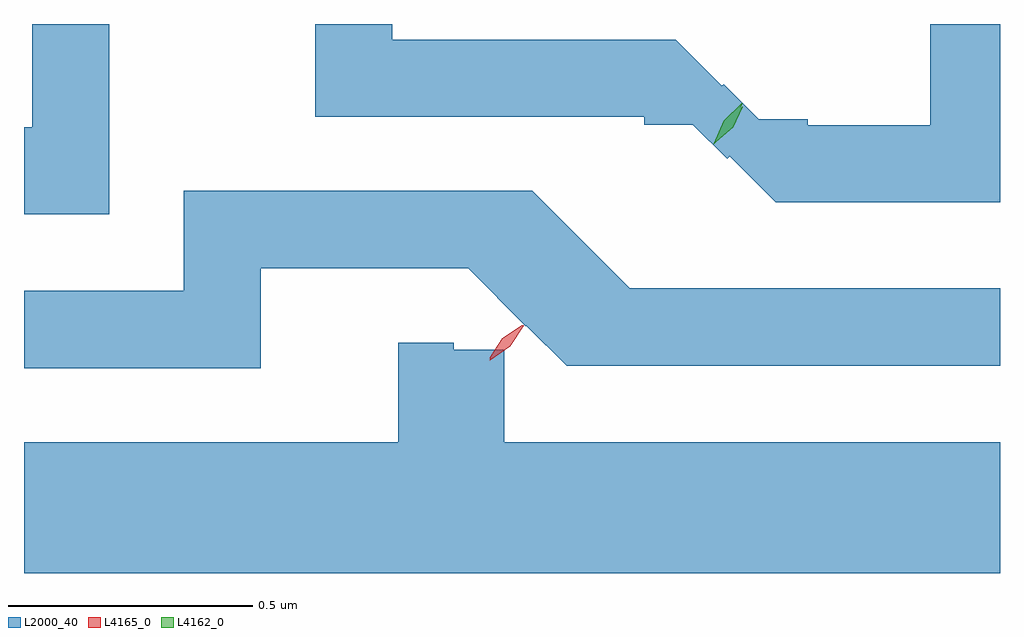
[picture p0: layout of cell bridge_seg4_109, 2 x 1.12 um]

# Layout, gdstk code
import gdstk
lib = gdstk.Library(unit=1e-6, precision=1e-09)
def P(c, l, *ps):  # polygons
    for p in ps: c.add(gdstk.Polygon(p, *l))
L2000_40 = (2000, 40)
L4162_0 = (4162, 0)
L4165_0 = (4165, 0)

bridge_seg4_109 = lib.new_cell('bridge_seg4_109')
P(bridge_seg4_109, L2000_40, [(860.424,1335.821),(860.281,1335.821),(860.281,1335.614),(860.03,1335.614),(860.03,1335.626),(859.93,1335.626),(859.858,1335.698),(859.854,1335.694),(859.76,1335.789),(859.179,1335.789),(859.179,1335.821),(859.021,1335.821),(859.021,1335.631),(859.695,1335.631),(859.695,1335.615),(859.794,1335.615),(859.865,1335.545),(859.87,1335.55),(859.964,1335.456),(860.424,1335.456)],
  [(858.599,1335.821),(858.441,1335.821),(858.441,1335.609),(858.424,1335.609),(858.424,1335.431),(858.599,1335.431)],
  [(858.909,1335.321),(859.334,1335.321),(859.452,1335.202),(859.453,1335.203),(859.536,1335.121),(860.424,1335.121),(860.424,1335.279),(859.665,1335.279),(859.465,1335.479),(858.751,1335.479),(858.751,1335.274),(858.424,1335.274),(858.424,1335.116),(858.909,1335.116)],
  [(860.424,1334.964),(859.408,1334.964),(859.408,1335.153),(859.305,1335.153),(859.305,1335.168),(859.191,1335.168),(859.191,1334.964),(858.424,1334.964),(858.424,1334.696),(860.424,1334.696)])
P(bridge_seg4_109, L4162_0, [(859.837,1335.575),(859.837,1335.576),(859.858,1335.623),(859.895,1335.659),(859.896,1335.659),(859.896,1335.658),(859.874,1335.611),(859.837,1335.575)],
  [(859.841,1335.579),(859.841,1335.58),(859.861,1335.621),(859.896,1335.651),(859.897,1335.651),(859.897,1335.651),(859.877,1335.609),(859.842,1335.579)])
P(bridge_seg4_109, L4165_0, [(859.378,1335.132),(859.378,1335.133),(859.406,1335.175),(859.447,1335.204),(859.448,1335.204),(859.448,1335.203),(859.42,1335.161),(859.379,1335.132)],
  [(859.378,1335.136),(859.378,1335.137),(859.404,1335.177),(859.444,1335.204),(859.445,1335.204),(859.445,1335.203),(859.418,1335.163),(859.379,1335.136)])

lib.write_gds('bridge_seg4_109.gds')
